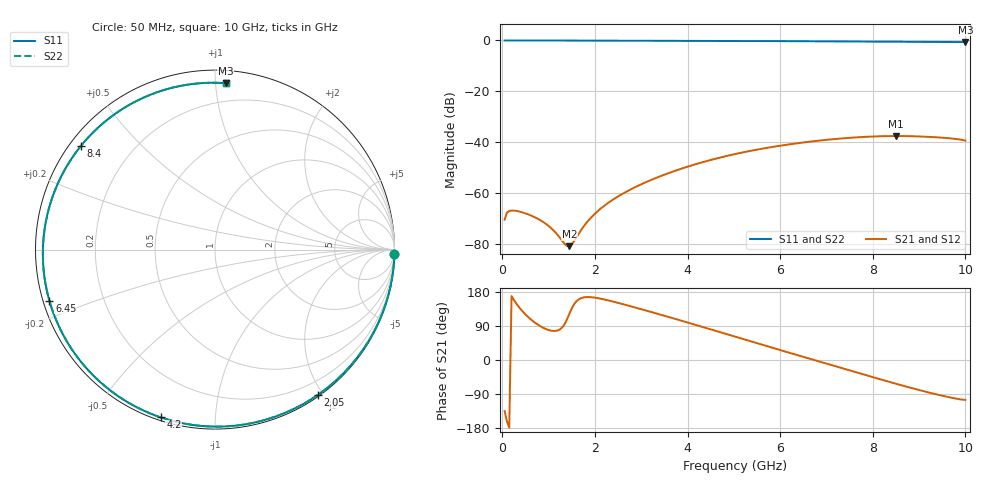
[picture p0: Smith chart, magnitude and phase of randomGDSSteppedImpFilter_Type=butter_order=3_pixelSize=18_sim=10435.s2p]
! freq	dB(S11)	phase(S11)	dB(S12)	phase(S12)
!  dB(S21)	phase(S21)	dB(S22)	phase(S22)
!S-par simulation data
#  GHz  S  DB  R 50
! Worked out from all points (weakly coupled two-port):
!   200 points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, 50 MHz to 10 GHz, reference 50 ohm
!   highest |S21| = -37.60 dB at 8.5 GHz (marker M1); lowest = -80.9 dB at 1.45 GHz (marker M2)
!   lowest |S11| = -0.6 dB at 10 GHz (marker M3), VSWR 27.13, Z = 3.93 + j53.2 ohm
!   |S11| at or under -10 dB: nowhere
!   |S22| runs from -0.6 to 0.0 dB; largest |S21 - S12| = 0
!   S11 on the Smith chart (normalised r, x): 50 MHz: 0, -84; 2.05 GHz: 0.02, -1.94; 4.2 GHz: 0.01, -0.73; 6.45 GHz: 0.02, -0.15; 8.4 GHz: 0.03, +0.34; 10 GHz: 0.08, +1.06
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0.05  -0.00 -1.4  -70.49 -134.9  -70.49 -134.9  -0.00 -1.4
0.1  -0.00 -2.7  -67.76 -161.7  -67.76 -161.7  -0.00 -2.7
0.15  -0.00 -4.1  -67.08 -178.6  -67.08 -178.6  -0.00 -4.1
0.55  -0.01 -15.0  -68.34 114.4  -68.34 114.4  -0.01 -15.0
1  -0.03 -27.1  -72.95 79.1  -72.95 79.1  -0.03 -27.1
1.35  -0.04 -36.4  -80.11 95.6  -80.11 95.6  -0.04 -36.4
1.45  -0.05 -39.0  -80.91 122.5  -80.91 122.5  -0.05 -39.0
1.55  -0.05 -41.6  -78.95 147.2  -78.95 147.2  -0.05 -41.6
1.75  -0.06 -46.9  -73.32 165.0  -73.32 165.0  -0.06 -46.9
2.05  -0.07 -54.6  -67.30 163.6  -67.30 163.6  -0.07 -54.6
2.6  -0.09 -68.7  -60.28 147.5  -60.28 147.5  -0.09 -68.7
3.4  -0.12 -88.6  -53.49 120.3  -53.49 120.3  -0.12 -88.6
4.2  -0.15 -108.0  -48.53 91.8  -48.53 91.8  -0.15 -108.0
5.05  -0.20 -128.4  -44.59 60.7  -44.59 60.7  -0.20 -128.4
6.45  -0.30 -162.9  -40.24 10.1  -40.24 10.1  -0.30 -162.9
6.7  -0.33 -169.3  -39.68 1.2  -39.68 1.2  -0.33 -169.3
7.55  -0.41 167.7  -38.23 -29.1  -38.23 -29.1  -0.41 167.7
8.35  -0.49 143.9  -37.62 -57.5  -37.62 -57.5  -0.49 143.8
8.4  -0.50 142.3  -37.61 -59.2  -37.61 -59.2  -0.50 142.3
8.5  -0.51 139.1  -37.60 -62.6  -37.60 -62.6  -0.51 139.1
9.3  -0.59 112.1  -38.01 -88.5  -38.01 -88.5  -0.59 112.1
10  -0.64 86.3  -39.39 -105.4  -39.39 -105.4  -0.64 86.3
